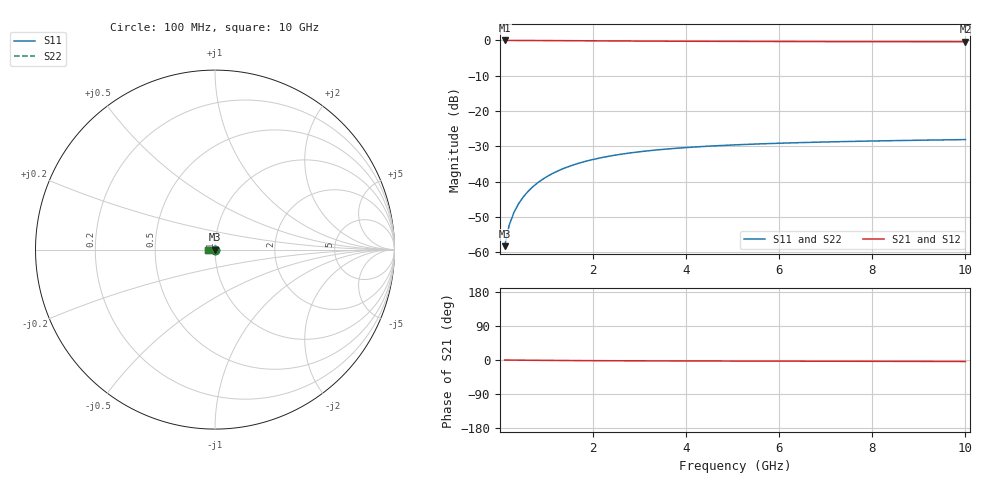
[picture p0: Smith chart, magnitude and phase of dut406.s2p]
! Touchstone file exported from HFSS 2024.1.0
!  File:  C:/UserFiles/LocalFiles/RDL_TSV_Batchsim/temp_TSV1_406_1779691975.aedt
!  Generated:  02:59:04 PM May 25, 2026
!  Design:  TSV1
!  Project:  temp_TSV1_406_1779691975
!  Setup:  Setup1
!  Solution:  Sweep
! Variables:
!  dtsv = 14.25um
!  hbump = 3um
!  htsv = 57.02um
!  lrdl = 252.1521522um
!  p = 40
!  p1 = 57.81um
!  t = 500um
!  trdl = 3um
!  wrdl = 24.89489489um
# GHz S MA R 50.000000
! Terminal data exported
! Port[1] = TSV22_T1
! Port[2] = TSV22_T2
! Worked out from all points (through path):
!   100 points, 100 MHz to 10 GHz, reference 50 ohm
!   highest |S21| = 0.00 dB at 100 MHz (marker M1); lowest = -0.4 dB at 10 GHz (marker M2)
!   lowest |S11| = -58.2 dB at 100 MHz (marker M3), VSWR 1.00, Z = 50 - j0.123 ohm
!   |S11| at or under -10 dB: start of sweep to end of sweep
!   |S22| runs from -58.2 to -28.1 dB; largest |S21 - S12| = 9.3e-15
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0.1  0.001226 -88.8  0.9999 -0.1  0.9999 -0.1  0.001226 -88.8
! Gamma 0 0 0 0
! Port Impedance 50 0 50 0
0.2  0.00245 -92.2  0.9997 -0.2  0.9997 -0.2  0.00245 -92.2
0.3  0.003672 -94.7  0.9995 -0.3  0.9995 -0.3  0.003672 -94.7
0.4  0.004885 -96.9  0.9992 -0.4  0.9992 -0.4  0.004885 -96.9
0.5  0.006084 -99.1  0.9988 -0.5  0.9988 -0.5  0.006084 -99.1
0.6  0.007265 -101.1  0.9984 -0.6  0.9984 -0.6  0.007265 -101.1
0.7  0.008423 -103.2  0.9978 -0.7  0.9978 -0.7  0.008423 -103.2
0.8  0.009556 -105.1  0.9972 -0.8  0.9972 -0.8  0.009556 -105.1
0.9  0.01066 -107.1  0.9966 -0.9  0.9966 -0.9  0.01066 -107.1
1.1  0.01278 -110.8  0.9952 -1.1  0.9952 -1.1  0.01278 -110.8
1.4  0.01571 -116.0  0.9929 -1.3  0.9929 -1.3  0.01571 -116.0
1.6  0.0175 -119.3  0.9912 -1.5  0.9912 -1.5  0.0175 -119.3
1.8  0.01915 -122.4  0.9895 -1.6  0.9895 -1.6  0.01915 -122.4
2.1  0.02138 -126.7  0.987 -1.8  0.987 -1.8  0.02138 -126.7
2.5  0.02395 -131.9  0.9838 -2.0  0.9838 -2.0  0.02395 -131.9
2.9  0.02611 -136.5  0.9809 -2.2  0.9809 -2.2  0.02611 -136.5
3.4  0.02834 -141.6  0.9776 -2.3  0.9776 -2.3  0.02834 -141.6
4.2  0.03109 -148.5  0.9733 -2.6  0.9733 -2.6  0.03109 -148.5
5.1  0.03338 -154.8  0.9695 -2.8  0.9695 -2.8  0.03338 -154.8
6.7  0.03616 -163.7  0.9648 -3.2  0.9648 -3.2  0.03616 -163.7
8.4  0.03814 -171.0  0.9616 -3.6  0.9616 -3.6  0.03814 -171.0
10  0.03952 -176.8  0.9595 -3.9  0.9595 -3.9  0.03953 -176.8
